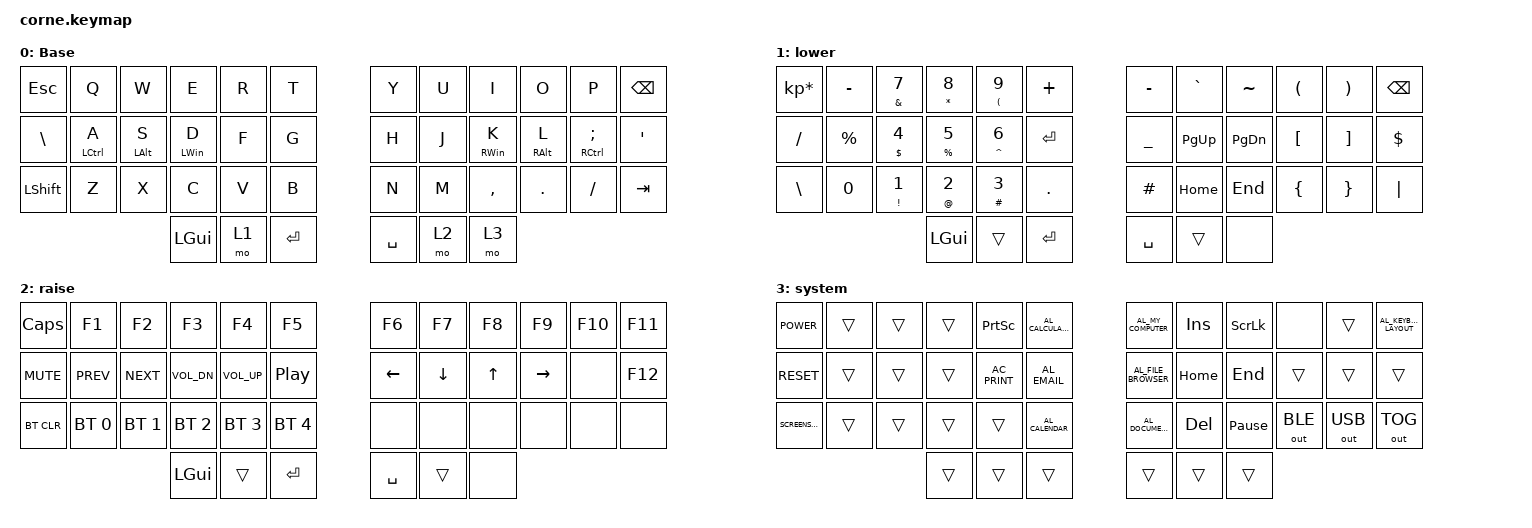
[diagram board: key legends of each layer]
/*
 * Copyright (c) 2020 The ZMK Contributors
 *
 * SPDX-License-Identifier: MIT
 */

#include <behaviors.dtsi>
#include <dt-bindings/zmk/bt.h>
#include <dt-bindings/zmk/keys.h>
#include <dt-bindings/zmk/outputs.h>

/ {
    behaviors {
        HML: HML {
            compatible = "zmk,behavior-hold-tap";
            label = "HML";
            bindings = <&kp>, <&kp>;

            #binding-cells = <2>;
            flavor = "tap-preferred";
            tapping-term-ms = <280>;
            quick-tap-ms = <175>;
            hold-trigger-key-positions = <36 37 38 39 40 41 6 7 8 9 10 11 18 19 20 21 22 23 30 31 32 33 34 35>;
            hold-trigger-on-release;
        };

        HMR: HMR {
            compatible = "zmk,behavior-hold-tap";
            label = "HMR";
            bindings = <&kp>, <&kp>;

            #binding-cells = <2>;
            tapping-term-ms = <280>;
            quick-tap-ms = <175>;
            flavor = "tap-preferred";
            hold-trigger-key-positions = <38 37 36 0 1 2 3 4 5 12 13 14 15 16 17 24 25 26 27 28 29 39 40 41>;
            hold-trigger-on-release;
        };
    };

    combos {
        compatible = "zmk,combos";

        Capsword {
            bindings = <&caps_word>;
            key-positions = <5 6>;
        };

        sleep {
            bindings = <&kp C_SLEEP>;
            key-positions = <24 35>;
        };

        systemLayer {
            bindings = <&mo 3>;
            key-positions = <37 40>;
        };
    };

    keymap {
        compatible = "zmk,keymap";

        Base {
            // -----------------------------------------------------------------------------------------
            // |  TAB |  Q  |  W  |  E  |  R  |  T  |   |  Y  |  U   |  I  |  O  |  P  | BSPC |
            // | CTRL |  A  |  S  |  D  |  F  |  G  |   |  H  |  J   |  K  |  L  |  ;  |  '   |
            // | SHFT |  Z  |  X  |  C  |  V  |  B  |   |  N  |  M   |  ,  |  .  |  /  | ESC  |
            //                    | GUI | LWR | SPC |   | ENT | RSE  | ALT |

            bindings = <
&kp ESCAPE      &kp Q                &kp W            &kp E            &kp R  &kp T         &kp Y      &kp U  &kp I             &kp O             &kp P                         &kp BSPC
&kp BACKSLASH   &HML LEFT_CONTROL A  &HML LEFT_ALT S  &HML LEFT_WIN D  &kp F  &kp G         &kp H      &kp J  &HMR RIGHT_WIN K  &HMR RIGHT_ALT L  &HMR RIGHT_CONTROL SEMICOLON  &kp SQT
&kp LEFT_SHIFT  &kp Z                &kp X            &kp C            &kp V  &kp B         &kp N      &kp M  &kp COMMA         &kp DOT           &kp FSLH                      &kp TAB
                                                      &kp LGUI         &mo 1  &kp RETURN    &kp SPACE  &mo 2  &mo 3
            >;
        };

        lower {
            // -----------------------------------------------------------------------------------------
            // |  TAB |  !  |  @  |  #  |  $  |  %  |   |  ^  |  &  |  *  |  (  |  )  |   \  |
            // | CTRL|  1   | 2   | 3   | 4   |  5  |   | -   | =   |  `  |  [  |  ]  |  |   |
            // | LSHFT| 6   | 7   |  8  | 9   |  0  |   | _   |  +  |  ~  |  {  |  }  |  LEFT_ALT  |
            //                    | GUI |     | SPC |   | ENT |     | ALT |

            bindings = <
&kp KP_MULTIPLY  &kp MINUS    &mt AMPS N7          &mt ASTRK N8     &mt LEFT_PARENTHESIS N9  &kp PLUS      &kp MINUS  &kp GRAVE    &kp TILDE      &kp LEFT_PARENTHESIS  &kp RIGHT_PARENTHESIS  &kp BACKSPACE
&kp SLASH        &kp PERCENT  &mt DOLLAR NUMBER_4  &mt PERCENT N5   &mt CARET NUMBER_6       &kp RETURN    &kp UNDER  &kp PAGE_UP  &kp PAGE_DOWN  &kp LEFT_BRACKET      &kp RIGHT_BRACKET      &kp DOLLAR
&kp BACKSLASH    &kp N0       &mt EXCL NUMBER_1    &mt AT NUMBER_2  &mt HASH NUMBER_3        &kp PERIOD    &kp HASH   &kp HOME     &kp END        &kp LEFT_BRACE        &kp RIGHT_BRACE        &kp PIPE
                                                   &kp LGUI         &trans                   &kp RET       &kp SPACE  &trans       &none
            >;
        };

        raise {
            // -----------------------------------------------------------------------------------------
            // |     | F1 | F2 | F3 | F4 | F5 | | F6      | F7       | F8       | F9       | F10      | F11 |
            // |     | Prv| Nxt| VDn| VUp| Ply| | LEFT    | DOWN     | UP       | RIGHT    | OUT_USB  | F12 |
            // |BTCLR| BT0| BT1| BT2| BT3| BT4| | OUT_BLE | OUT_TOG  |           |          |          |     |
            // | GUI |    | RET| SPC|    | ALT |

            bindings = <
&kp CAPS    &kp F1        &kp F2        &kp F3        &kp F4        &kp F5              &kp F6     &kp F7    &kp F8  &kp F9     &kp F10  &kp F11
&kp C_MUTE  &kp C_PREV    &kp C_NEXT    &kp C_VOL_DN  &kp C_VOL_UP  &kp C_PLAY_PAUSE    &kp LEFT   &kp DOWN  &kp UP  &kp RIGHT  &none    &kp F12
&bt BT_CLR  &bt BT_SEL 0  &bt BT_SEL 1  &bt BT_SEL 2  &bt BT_SEL 3  &bt BT_SEL 4        &none      &none     &none   &none      &none    &none
                                        &kp LGUI      &trans        &kp RET             &kp SPACE  &trans    &none
            >;
        };

        system {
            bindings = <
&kp K_POWER        &trans  &trans  &trans  &kp PRINTSCREEN  &kp C_AL_CALCULATOR    &kp C_AL_MY_COMPUTER   &kp INS   &kp SCROLLLOCK   &none         &trans        &kp C_AL_KEYBOARD_LAYOUT
&kp C_RESET        &trans  &trans  &trans  &kp C_AC_PRINT   &kp C_AL_EMAIL         &kp C_AL_FILE_BROWSER  &kp HOME  &kp END          &trans        &trans        &trans
&kp K_SCREENSAVER  &trans  &trans  &trans  &trans           &kp C_AL_CALENDAR      &kp C_AL_DOCUMENTS     &kp DEL   &kp PAUSE_BREAK  &out OUT_BLE  &out OUT_USB  &out OUT_TOG
                                   &trans  &trans           &trans                 &trans                 &trans    &trans
            >;
        };
    };
};
